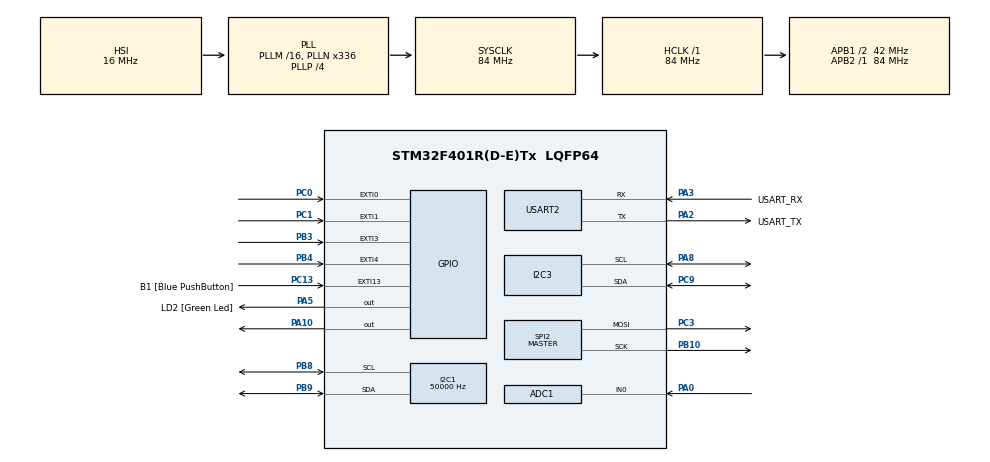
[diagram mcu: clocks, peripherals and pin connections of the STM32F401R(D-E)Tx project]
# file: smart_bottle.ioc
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ADC1.Channel-0\#ChannelRegularConversion=ADC_CHANNEL_0
ADC1.NbrOfConversionFlag=1
ADC1.Rank-0\#ChannelRegularConversion=1
ADC1.SamplingTime-0\#ChannelRegularConversion=ADC_SAMPLETIME_3CYCLES
ADC1.master=1
I2C1.ClockSpeed=50000
Mcu.Family=STM32F4
Mcu.Name=STM32F401R(D-E)Tx
Mcu.Package=LQFP64
NVIC.EXTI0_IRQn=true\:0\:1\:false\:false\:true\:true\:true
NVIC.EXTI1_IRQn=true\:0\:1\:false\:false\:true\:true\:true
NVIC.EXTI3_IRQn=true\:0\:1\:false\:false\:true\:true\:true
NVIC.EXTI4_IRQn=true\:0\:1\:false\:false\:true\:true\:true
NVIC.PriorityGroup=NVIC_PRIORITYGROUP_0
PA0-WKUP.Signal=ADCx_IN0
PA10.Signal=GPIO_Output
PA13.GPIO_Label=TMS
PA13.Mode=Serial_Wire
PA13.Signal=SYS_JTMS-SWDIO
PA14.GPIO_Label=TCK
PA14.Mode=Serial_Wire
PA14.Signal=SYS_JTCK-SWCLK
PA2.GPIO_Label=USART_TX
PA2.GPIO_Mode=GPIO_MODE_AF_PP
PA2.GPIO_PuPd=GPIO_NOPULL
PA2.GPIO_Speed=GPIO_SPEED_FREQ_LOW
PA2.Mode=Asynchronous
PA2.Signal=USART2_TX
PA3.GPIO_Label=USART_RX
PA3.GPIO_Mode=GPIO_MODE_AF_PP
PA3.GPIO_PuPd=GPIO_NOPULL
PA3.GPIO_Speed=GPIO_SPEED_FREQ_LOW
PA3.Mode=Asynchronous
PA3.Signal=USART2_RX
PA5.GPIO_Label=LD2 [Green Led]
PA5.GPIO_Mode=GPIO_MODE_OUTPUT_PP
PA5.GPIO_PuPd=GPIO_NOPULL
PA5.GPIO_Speed=GPIO_SPEED_FREQ_LOW
PA5.Signal=GPIO_Output
PA8.Mode=I2C
PA8.Signal=I2C3_SCL
PB10.Mode=TX_Only_Simplex_Unidirect_Master
PB10.Signal=SPI2_SCK
PB3.Signal=GPXTI3
PB4.GPIO_ModeDefaultEXTI=GPIO_MODE_IT_FALLING
PB4.Signal=GPXTI4
PB8.Mode=I2C
PB8.Signal=I2C1_SCL
PB9.Mode=I2C
PB9.Signal=I2C1_SDA
PC0.GPIO_ModeDefaultEXTI=GPIO_MODE_IT_FALLING
PC0.Signal=GPXTI0
PC1.Signal=GPXTI1
PC13-ANTI_TAMP.GPIO_Label=B1 [Blue PushButton]
PC13-ANTI_TAMP.GPIO_ModeDefaultEXTI=GPIO_MODE_IT_FALLING
PC13-ANTI_TAMP.GPIO_PuPd=GPIO_NOPULL
PC13-ANTI_TAMP.Signal=GPXTI13
PC14-OSC32_IN.Mode=LSE-External-Oscillator
PC14-OSC32_IN.Signal=RCC_OSC32_IN
PC15-OSC32_OUT.Mode=LSE-External-Oscillator
PC15-OSC32_OUT.Signal=RCC_OSC32_OUT
PC3.Mode=TX_Only_Simplex_Unidirect_Master
PC3.Signal=SPI2_MOSI
PC9.Mode=I2C
PC9.Signal=I2C3_SDA
PH0\ -\ OSC_IN.Mode=HSE-External-Clock-Source
PH0\ -\ OSC_IN.Signal=RCC_OSC_IN
PH1\ -\ OSC_OUT.Mode=HSE-External-Clock-Source
PH1\ -\ OSC_OUT.Signal=RCC_OSC_OUT
ProjectManager.HeapSize=0x200
ProjectManager.StackSize=0x400
ProjectManager.TargetToolchain=STM32CubeIDE
RCC.48MHZClocksFreq_Value=48000000
RCC.AHBFreq_Value=84000000
RCC.APB1CLKDivider=RCC_HCLK_DIV2
RCC.APB1Freq_Value=42000000
RCC.APB1TimFreq_Value=84000000
RCC.APB2Freq_Value=84000000
RCC.APB2TimFreq_Value=84000000
RCC.CortexFreq_Value=84000000
RCC.HCLKFreq_Value=84000000
RCC.HSE_VALUE=8000000
RCC.HSI_VALUE=16000000
RCC.PLLN=336
RCC.PLLP=RCC_PLLP_DIV4
RCC.PLLQ=7
RCC.SYSCLKFreq_VALUE=84000000
RCC.SYSCLKSource=RCC_SYSCLKSOURCE_PLLCLK
RCC.VCOOutputFreq_Value=336000000
RTC.Date=10
RTC.Hours=12
RTC.Month=RTC_MONTH_DECEMBER
RTC.WeekDay=RTC_WEEKDAY_FRIDAY
RTC.Year=21
SH.ADCx_IN0.0=ADC1_IN0,IN0
SPI2.Direction=SPI_DIRECTION_2LINES
SPI2.Mode=SPI_MODE_MASTER
SPI2.VirtualType=VM_MASTER
USART2.VirtualMode=VM_ASYNC
VP_RTC_VS_RTC_Activate.Mode=RTC_Enabled
VP_RTC_VS_RTC_Calendar.Mode=RTC_Calendar
board=NUCLEO-F401RE

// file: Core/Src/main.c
/* USER CODE BEGIN Header */
/**
  ******************************************************************************
  * @file           : main.c
  * @brief          : Main program body
  ******************************************************************************
  * @attention
  *
  * <h2><center>&copy; Copyright (c) 2021 STMicroelectronics.
  * All rights reserved.</center></h2>
  *
  * This software component is licensed by ST under BSD 3-Clause license,
  * the "License"; You may not use this file except in compliance with the
  * License. You may obtain a copy of the License at:
  *                        opensource.org/licenses/BSD-3-Clause
  *
  ******************************************************************************
  */
/* USER CODE END Header */
#include "main.h"

/* USER CODE BEGIN Includes */
#include<string.h>
#include<stdio.h>

/* USER CODE END Includes */

ADC_HandleTypeDef hadc1;

I2C_HandleTypeDef hi2c1;
I2C_HandleTypeDef hi2c3;

RTC_HandleTypeDef hrtc;

SPI_HandleTypeDef hspi2;

UART_HandleTypeDef huart2;

/* USER CODE BEGIN PV */
struct MenuItem main_menu[MAIN_MENU_SIZE];
struct WeekType this_week;
RTC_DateTypeDef last_read_date;

int up_pressed = 0;
int down_pressed = 0;
int menu_pressed = 0;
int ok_pressed = 0;

float _zeroOffset = 1.0;
float _calibrationFactor = 411.43/8.0;

/* USER CODE END PV */

void SystemClock_Config(void);
static void MX_GPIO_Init(void);
static void MX_USART2_UART_Init(void);
static void MX_ADC1_Init(void);
static void MX_I2C1_Init(void);
static void MX_I2C3_Init(void);
static void MX_SPI2_Init(void);
static void MX_RTC_Init(void);

int main(void)
{
  /* USER CODE BEGIN 1 */
//	uint16_t raw;    //12-bit ADC reading
//	char msg[10];    //buffer used to transmit over UART

  /* USER CODE END 1 */

  /* MCU Configuration--------------------------------------------------------*/

  /* Reset of all peripherals, Initializes the Flash interface and the Systick. */
  HAL_Init();

  /* Configure the system clock */
  SystemClock_Config();

  /* Initialize all configured peripherals */
  MX_GPIO_Init();
  MX_USART2_UART_Init();
  MX_ADC1_Init();
  MX_I2C1_Init();
  MX_I2C3_Init();
  MX_SPI2_Init();
  MX_RTC_Init();
  /* USER CODE BEGIN 2 */

//    RTC_TimeTypeDef currTime = {0};
//	RTC_DateTypeDef currDate = {0};
//
//	HAL_RTC_GetTime(&hrtc, &currTime, RTC_FORMAT_BIN);
//	HAL_RTC_GetDate(&hrtc, &currDate, RTC_FORMAT_BIN);

//  display_test(hi2c1);

  display_init();

  load_cell_init();

  menu_init();

  color_init();

  /* USER CODE END 2 */

  /* Infinite loop */
  /* USER CODE BEGIN WHILE */

  HAL_Delay(1000);
  display_clear();
  display_off();

  while (1)
  {
	  if (menu_pressed) {
		  reset_buttons();
		  menu_call();
		  reset_buttons();
	  }

    /* USER CODE END WHILE */

  }
}

void SystemClock_Config(void)
{
  RCC_OscInitTypeDef RCC_OscInitStruct = {0};
  RCC_ClkInitTypeDef RCC_ClkInitStruct = {0};

  /** Configure the main internal regulator output voltage
  */
  __HAL_RCC_PWR_CLK_ENABLE();
  __HAL_PWR_VOLTAGESCALING_CONFIG(PWR_REGULATOR_VOLTAGE_SCALE2);
  /** Initializes the RCC Oscillators according to the specified parameters
  * in the RCC_OscInitTypeDef structure.
  */
  RCC_OscInitStruct.OscillatorType = RCC_OSCILLATORTYPE_HSI|RCC_OSCILLATORTYPE_LSI;
  RCC_OscInitStruct.HSIState = RCC_HSI_ON;
  RCC_OscInitStruct.HSICalibrationValue = RCC_HSICALIBRATION_DEFAULT;
  RCC_OscInitStruct.LSIState = RCC_LSI_ON;
  RCC_OscInitStruct.PLL.PLLState = RCC_PLL_ON;
  RCC_OscInitStruct.PLL.PLLSource = RCC_PLLSOURCE_HSI;
  RCC_OscInitStruct.PLL.PLLM = 16;
  RCC_OscInitStruct.PLL.PLLN = 336;
  RCC_OscInitStruct.PLL.PLLP = RCC_PLLP_DIV4;
  RCC_OscInitStruct.PLL.PLLQ = 7;
  if (HAL_RCC_OscConfig(&RCC_OscInitStruct) != HAL_OK)
  {
    Error_Handler();
  }
  /** Initializes the CPU, AHB and APB buses clocks
  */
  RCC_ClkInitStruct.ClockType = RCC_CLOCKTYPE_HCLK|RCC_CLOCKTYPE_SYSCLK
                              |RCC_CLOCKTYPE_PCLK1|RCC_CLOCKTYPE_PCLK2;
  RCC_ClkInitStruct.SYSCLKSource = RCC_SYSCLKSOURCE_PLLCLK;
  RCC_ClkInitStruct.AHBCLKDivider = RCC_SYSCLK_DIV1;
  RCC_ClkInitStruct.APB1CLKDivider = RCC_HCLK_DIV2;
  RCC_ClkInitStruct.APB2CLKDivider = RCC_HCLK_DIV1;

  if (HAL_RCC_ClockConfig(&RCC_ClkInitStruct, FLASH_LATENCY_2) != HAL_OK)
  {
    Error_Handler();
  }
}

static void MX_ADC1_Init(void)
{

  ADC_ChannelConfTypeDef sConfig = {0};

  /** Configure the global features of the ADC (Clock, Resolution, Data Alignment and number of conversion)
  */
  hadc1.Instance = ADC1;
  hadc1.Init.ClockPrescaler = ADC_CLOCK_SYNC_PCLK_DIV4;
  hadc1.Init.Resolution = ADC_RESOLUTION_12B;
  hadc1.Init.ScanConvMode = DISABLE;
  hadc1.Init.ContinuousConvMode = DISABLE;
  hadc1.Init.DiscontinuousConvMode = DISABLE;
  hadc1.Init.ExternalTrigConvEdge = ADC_EXTERNALTRIGCONVEDGE_NONE;
  hadc1.Init.ExternalTrigConv = ADC_SOFTWARE_START;
  hadc1.Init.DataAlign = ADC_DATAALIGN_RIGHT;
  hadc1.Init.NbrOfConversion = 1;
  hadc1.Init.DMAContinuousRequests = DISABLE;
  hadc1.Init.EOCSelection = ADC_EOC_SINGLE_CONV;
  if (HAL_ADC_Init(&hadc1) != HAL_OK)
  {
    Error_Handler();
  }
  /** Configure for the selected ADC regular channel its corresponding rank in the sequencer and its sample time.
  */
  sConfig.Channel = ADC_CHANNEL_0;
  sConfig.Rank = 1;
  sConfig.SamplingTime = ADC_SAMPLETIME_3CYCLES;
  if (HAL_ADC_ConfigChannel(&hadc1, &sConfig) != HAL_OK)
  {
    Error_Handler();
  }

}

static void MX_I2C1_Init(void)
{

  hi2c1.Instance = I2C1;
  hi2c1.Init.ClockSpeed = 50000;
  hi2c1.Init.DutyCycle = I2C_DUTYCYCLE_2;
  hi2c1.Init.OwnAddress1 = 0;
  hi2c1.Init.AddressingMode = I2C_ADDRESSINGMODE_7BIT;
  hi2c1.Init.DualAddressMode = I2C_DUALADDRESS_DISABLE;
  hi2c1.Init.OwnAddress2 = 0;
  hi2c1.Init.GeneralCallMode = I2C_GENERALCALL_DISABLE;
  hi2c1.Init.NoStretchMode = I2C_NOSTRETCH_DISABLE;
  if (HAL_I2C_Init(&hi2c1) != HAL_OK)
  {
    Error_Handler();
  }

}

static void MX_I2C3_Init(void)
{

  hi2c3.Instance = I2C3;
  hi2c3.Init.ClockSpeed = 100000;
  hi2c3.Init.DutyCycle = I2C_DUTYCYCLE_2;
  hi2c3.Init.OwnAddress1 = 0;
  hi2c3.Init.AddressingMode = I2C_ADDRESSINGMODE_7BIT;
  hi2c3.Init.DualAddressMode = I2C_DUALADDRESS_DISABLE;
  hi2c3.Init.OwnAddress2 = 0;
  hi2c3.Init.GeneralCallMode = I2C_GENERALCALL_DISABLE;
  hi2c3.Init.NoStretchMode = I2C_NOSTRETCH_DISABLE;
  if (HAL_I2C_Init(&hi2c3) != HAL_OK)
  {
    Error_Handler();
  }

}

static void MX_RTC_Init(void)
{

  RTC_TimeTypeDef sTime = {0};
  RTC_DateTypeDef sDate = {0};

  /** Initialize RTC Only
  */
  hrtc.Instance = RTC;
  hrtc.Init.HourFormat = RTC_HOURFORMAT_24;
  hrtc.Init.AsynchPrediv = 127;
  hrtc.Init.SynchPrediv = 255;
  hrtc.Init.OutPut = RTC_OUTPUT_DISABLE;
  hrtc.Init.OutPutPolarity = RTC_OUTPUT_POLARITY_HIGH;
  hrtc.Init.OutPutType = RTC_OUTPUT_TYPE_OPENDRAIN;
  if (HAL_RTC_Init(&hrtc) != HAL_OK)
  {
    Error_Handler();
  }

  /** Initialize RTC and set the Time and Date
  */
  sTime.Hours = 0x12;
  sTime.Minutes = 0x0;
  sTime.Seconds = 0x0;
  sTime.DayLightSaving = RTC_DAYLIGHTSAVING_NONE;
  sTime.StoreOperation = RTC_STOREOPERATION_RESET;
  if (HAL_RTC_SetTime(&hrtc, &sTime, RTC_FORMAT_BCD) != HAL_OK)
  {
    Error_Handler();
  }
  sDate.WeekDay = RTC_WEEKDAY_FRIDAY;
  sDate.Month = RTC_MONTH_DECEMBER;
  sDate.Date = 0x10;
  sDate.Year = 0x21;

  if (HAL_RTC_SetDate(&hrtc, &sDate, RTC_FORMAT_BCD) != HAL_OK)
  {
    Error_Handler();
  }

}

static void MX_SPI2_Init(void)
{

  /* SPI2 parameter configuration*/
  hspi2.Instance = SPI2;
  hspi2.Init.Mode = SPI_MODE_MASTER;
  hspi2.Init.Direction = SPI_DIRECTION_2LINES;
  hspi2.Init.DataSize = SPI_DATASIZE_8BIT;
  hspi2.Init.CLKPolarity = SPI_POLARITY_LOW;
  hspi2.Init.CLKPhase = SPI_PHASE_1EDGE;
  hspi2.Init.NSS = SPI_NSS_SOFT;
  hspi2.Init.BaudRatePrescaler = SPI_BAUDRATEPRESCALER_2;
  hspi2.Init.FirstBit = SPI_FIRSTBIT_MSB;
  hspi2.Init.TIMode = SPI_TIMODE_DISABLE;
  hspi2.Init.CRCCalculation = SPI_CRCCALCULATION_DISABLE;
  hspi2.Init.CRCPolynomial = 10;
  if (HAL_SPI_Init(&hspi2) != HAL_OK)
  {
    Error_Handler();
  }

}

static void MX_USART2_UART_Init(void)
{

  huart2.Instance = USART2;
  huart2.Init.BaudRate = 115200;
  huart2.Init.WordLength = UART_WORDLENGTH_8B;
  huart2.Init.StopBits = UART_STOPBITS_1;
  huart2.Init.Parity = UART_PARITY_NONE;
  huart2.Init.Mode = UART_MODE_TX_RX;
  huart2.Init.HwFlowCtl = UART_HWCONTROL_NONE;
  huart2.Init.OverSampling = UART_OVERSAMPLING_16;
  if (HAL_UART_Init(&huart2) != HAL_OK)
  {
    Error_Handler();
  }

}

static void MX_GPIO_Init(void)
{
  GPIO_InitTypeDef GPIO_InitStruct = {0};

  /* GPIO Ports Clock Enable */
  __HAL_RCC_GPIOC_CLK_ENABLE();
  __HAL_RCC_GPIOH_CLK_ENABLE();
  __HAL_RCC_GPIOA_CLK_ENABLE();
  __HAL_RCC_GPIOB_CLK_ENABLE();

  /*Configure GPIO pin Output Level */
  HAL_GPIO_WritePin(GPIOA, LD2_Pin|GPIO_PIN_10, GPIO_PIN_RESET);

  /*Configure GPIO pins : B1_Pin PC0 */
  GPIO_InitStruct.Pin = B1_Pin|GPIO_PIN_0;
  GPIO_InitStruct.Mode = GPIO_MODE_IT_FALLING;
  GPIO_InitStruct.Pull = GPIO_NOPULL;
  HAL_GPIO_Init(GPIOC, &GPIO_InitStruct);

  /*Configure GPIO pin : PC1 */
  GPIO_InitStruct.Pin = GPIO_PIN_1;
  GPIO_InitStruct.Mode = GPIO_MODE_IT_RISING;
  GPIO_InitStruct.Pull = GPIO_NOPULL;
  HAL_GPIO_Init(GPIOC, &GPIO_InitStruct);

  /*Configure GPIO pins : LD2_Pin PA10 */
  GPIO_InitStruct.Pin = LD2_Pin|GPIO_PIN_10;
  GPIO_InitStruct.Mode = GPIO_MODE_OUTPUT_PP;
  GPIO_InitStruct.Pull = GPIO_NOPULL;
  GPIO_InitStruct.Speed = GPIO_SPEED_FREQ_LOW;
  HAL_GPIO_Init(GPIOA, &GPIO_InitStruct);

  /*Configure GPIO pin : PB3 */
  GPIO_InitStruct.Pin = GPIO_PIN_3;
  GPIO_InitStruct.Mode = GPIO_MODE_IT_RISING;
  GPIO_InitStruct.Pull = GPIO_NOPULL;
  HAL_GPIO_Init(GPIOB, &GPIO_InitStruct);

  /*Configure GPIO pin : PB4 */
  GPIO_InitStruct.Pin = GPIO_PIN_4;
  GPIO_InitStruct.Mode = GPIO_MODE_IT_FALLING;
  GPIO_InitStruct.Pull = GPIO_NOPULL;
  HAL_GPIO_Init(GPIOB, &GPIO_InitStruct);

  /* EXTI interrupt init*/
  HAL_NVIC_SetPriority(EXTI0_IRQn, 0, 1);
  HAL_NVIC_EnableIRQ(EXTI0_IRQn);

  HAL_NVIC_SetPriority(EXTI1_IRQn, 0, 1);
  HAL_NVIC_EnableIRQ(EXTI1_IRQn);

  HAL_NVIC_SetPriority(EXTI3_IRQn, 0, 1);
  HAL_NVIC_EnableIRQ(EXTI3_IRQn);

  HAL_NVIC_SetPriority(EXTI4_IRQn, 0, 1);
  HAL_NVIC_EnableIRQ(EXTI4_IRQn);

}

/* USER CODE BEGIN 4 */

void menu_call() {
	if (menu_pressed)
		menu_pressed = 0;

	int menu_idx = 0;
	int last_menu_idx = 1;
	int menu_active = 1;
	display_set_brightness(4);

	while (menu_active) {
		if (last_menu_idx != menu_idx)
			menu_display(menu_idx);

		if (ok_pressed) {
			reset_buttons();
			menu_select(menu_idx);
			display_clear();
			display_off();
			return;
		}

		last_menu_idx = menu_idx;
		if (down_pressed) {
			if (menu_idx < MAIN_MENU_SIZE - 1)
				menu_idx++;
			else
				menu_idx = 0;
			down_pressed = 0;
		}
		else if (up_pressed) {
			if (menu_idx > 0)
				menu_idx--;
			else
				menu_idx = MAIN_MENU_SIZE - 1;
			up_pressed = 0;
		}
 	}

	display_off();
}

void menu_select(int menu_idx) {
	switch (menu_idx) {
	case (GUESS_LIQUID):
			guess_liquid();
			break;
	case (DISPLAY_COLOR):
			color_display_debug();
			break;
	case (CHECK_DAY):
			dumb_way_to_update_week();
			RTC_TimeTypeDef currTime = {0};
			RTC_DateTypeDef currDate = {0};
			HAL_RTC_GetTime(&hrtc, &currTime, RTC_FORMAT_BIN);
			HAL_RTC_GetDate(&hrtc, &currDate, RTC_FORMAT_BIN);
			display_day_summary(this_week.day[currDate.WeekDay - 1], currDate);
			break;
	case (CHECK_WEEK):
			display_week_summary();
			break;
	case (CHECK_LEVEL):
			display_level();
			break;
	case (DISPLAY_TIME):
			display_time();
			break;
	case (SET_DEMO_VALUES):
			set_demo_week();
			break;
	case (RESET_DAY_OR_WEEK):
			reset_day_or_week();
			break;
	case (CHECK_MASS):
			display_mass();
			break;
	case (CHECK_DENSITY):
			display_density();
			break;
	default:
		display_print_line("INVALID SELECTION", strlen("INVALID SELECTION"), 0);
		HAL_Delay(5000);
		break;
	}
}

void menu_init() {
	// Initialize Menu Items
	struct MenuItem next_item;
	strcpy(next_item.display, "   --- N/A ---    ");
	next_item.valid = 0;

	for (int i = 0; i < MAIN_MENU_SIZE; i++) {
	  switch (i) {
	  case (GUESS_LIQUID):
		  strcpy(next_item.display, " Guess Contents   ");
		  next_item.valid = 1;
		  main_menu[i] = next_item;
		  break;
	  case (DISPLAY_COLOR):
		  strcpy(next_item.display, " Display Color    ");
	  	  next_item.valid = 1;
		  main_menu[i] = next_item;
		  break;
	case (CHECK_DAY):
		  strcpy(next_item.display, " Check Day        ");
		  next_item.valid = 1;
		  main_menu[i] = next_item;
		  break;
	case (CHECK_WEEK):
		  strcpy(next_item.display, " Check Week       ");
		  next_item.valid = 1;
		  main_menu[i] = next_item;
		  break;
	case (CHECK_LEVEL):
		  strcpy(next_item.display, " Display Level    ");
		  next_item.valid = 1;
		  main_menu[i] = next_item;
		  break;
	case (DISPLAY_TIME):
		  strcpy(next_item.display, " Display Time     ");
		  next_item.valid = 1;
		  main_menu[i] = next_item;
		  break;
	case (SET_DEMO_VALUES):
		  strcpy(next_item.display, " Set Demo Week    ");
		  next_item.valid = 1;
		  main_menu[i] = next_item;
		  break;
	case (RESET_DAY_OR_WEEK):
		  strcpy(next_item.display, " Reset Day or Week");
		  next_item.valid = 1;
		  main_menu[i] = next_item;
		  break;
	case (CHECK_MASS):
		  strcpy(next_item.display, " Display Mass     ");
		  next_item.valid = 1;
		  main_menu[i] = next_item;
		  break;
	case (CHECK_DENSITY):
		  strcpy(next_item.display, " Display Density  ");
		  next_item.valid = 1;
		  main_menu[i] = next_item;
		  break;
	  default:
		  strcpy(next_item.display, "   --- N/A ---    ");
		  next_item.valid = 1;
		  main_menu[i] = next_item;
		  break;
	  }
	}
}

void menu_display(int menu_idx) {
	display_clear();
	char line_entry[DISPLAY_WIDTH];
	int first_print_line = menu_idx - (menu_idx % NUM_DISPLAY_LINES);
	for (int i = 0; i < NUM_DISPLAY_LINES; i++) {
		if (first_print_line + i < MAIN_MENU_SIZE) {
			if (main_menu[first_print_line + i].valid) {
				for (int j = 0; j < DISPLAY_WIDTH; j++) {
					if (j == 0) {
						if (first_print_line + i == menu_idx) {
							line_entry[j] = '>';
						} else {
							line_entry[j] = ' ';
						}
					} else {
						line_entry[j] = main_menu[first_print_line + i].display[j - 1];
					}
				}
				display_print_line(line_entry, DISPLAY_WIDTH, i);
			}
		}
	}
	HAL_Delay(100);
}
/* USER CODE END 4 */

void Error_Handler(void)
{
  __disable_irq();
  while (1)
  {
  }
}

/************************ (C) COPYRIGHT STMicroelectronics *****END OF FILE****/
